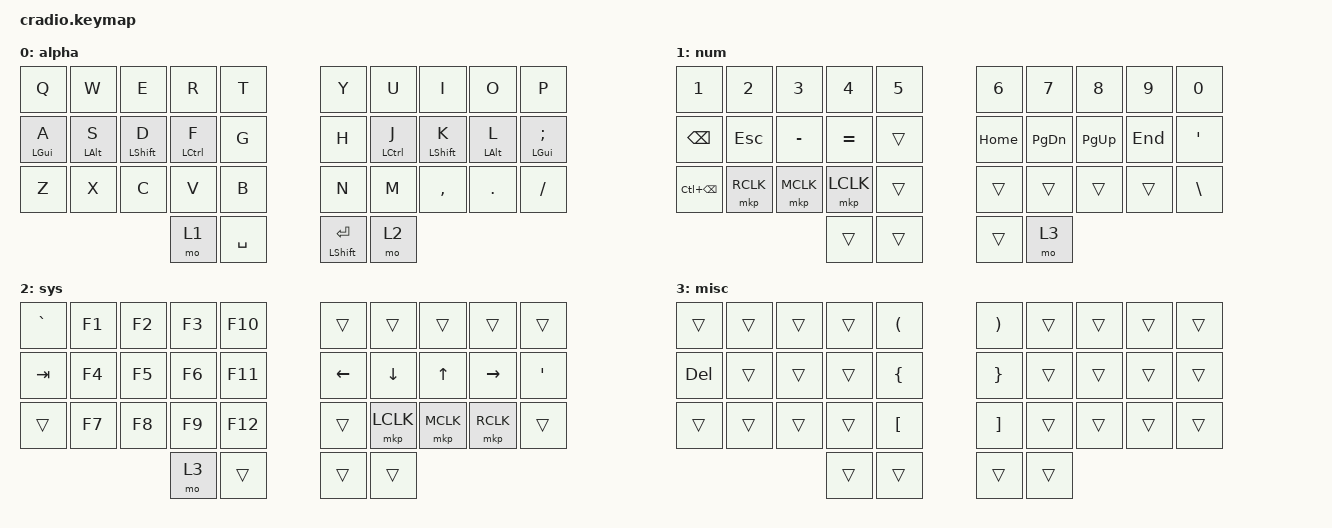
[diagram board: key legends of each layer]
/*
* Copyright (c) 2020 The ZMK Contributors
*
* SPDX-License-Identifier: MIT
*/

#include <behaviors.dtsi>
#include <dt-bindings/zmk/keys.h>
#include <dt-bindings/zmk/mouse.h>

&mt {
    flavor = "tap-preferred";
    tapping_term_ms = <200>;
};

/ {
    behaviors {
        hm: homerow_mods {
            compatible = "zmk,behavior-hold-tap";
            label = "HOMEROW_MODS";
            #binding-cells = <2>;
            tapping-term-ms = <260>;
            quick_tap_ms = <0>;
            flavor = "tap-preferred";
            bindings =
                <&kp>,
                <&kp>;
        };
        mkp: behavior_mouse_key_press {
            compatible = "zmk,behavior-mouse-key-press";
            label = "MOUSE_KEY_PRESS";
            #binding-cells = <1>;
        };
    };

    keymap {
        compatible = "zmk,keymap";

        alpha {
            bindings = <
&kp Q       &kp W       &kp E             &kp R       &kp T             &kp Y             &kp U       &kp I             &kp O       &kp P
&hm LGUI A  &hm LALT S  &hm LEFT_SHIFT D  &hm LCTRL F &kp G             &kp H             &hm LCTRL J &hm LEFT_SHIFT K  &hm LALT L  &hm LGUI SEMICOLON
&kp Z       &kp X       &kp C             &kp V       &kp B             &kp N             &kp M       &kp COMMA         &kp DOT     &kp SLASH
                                          &mo 1       &kp SPACE         &hm LSHIFT ENTER  &mo 2
            >;
        };

        num {
            bindings = <
&kp N1             &kp N2   &kp N3        &kp N4     &kp N5            &kp N6     &kp N7         &kp N8       &kp N9     &kp N0
&kp BACKSPACE      &kp ESC  &kp MINUS     &kp EQUAL  &trans        &kp HOME   &kp PAGE_DOWN  &kp PAGE_UP  &kp END    &kp SINGLE_QUOTE
&kp LC(BACKSPACE)  &mkp RCLK   &mkp MCLK  &mkp LCLK  &trans        &trans     &trans         &trans       &trans     &kp BACKSLASH
                                          &trans     &trans        &trans    &mo 3
            >;
        };

        sys {
            bindings = <
&kp GRAVE  &kp F1  &kp F2  &kp F3  &kp F10    &trans    &trans     &trans     &trans     &trans
&kp TAB    &kp F4  &kp F5  &kp F6  &kp F11    &kp LEFT  &kp DOWN   &kp UP     &kp RIGHT  &kp SINGLE_QUOTE
&trans     &kp F7  &kp F8  &kp F9  &kp F12    &trans    &mkp LCLK  &mkp MCLK  &mkp RCLK  &trans
                           &mo 3   &trans     &trans    &trans
            >;
        };

        misc {
            bindings = <
&trans      &trans  &trans  &trans  &kp LPAR        &kp RPAR  &trans  &trans  &trans  &trans
&kp DELETE  &trans  &trans  &trans  &kp LBRC        &kp RBRC  &trans  &trans  &trans  &trans
&trans      &trans  &trans  &trans  &kp LBKT        &kp RBKT  &trans  &trans  &trans  &trans
                            &trans  &trans          &trans    &trans
            >;
        };
    };
};
